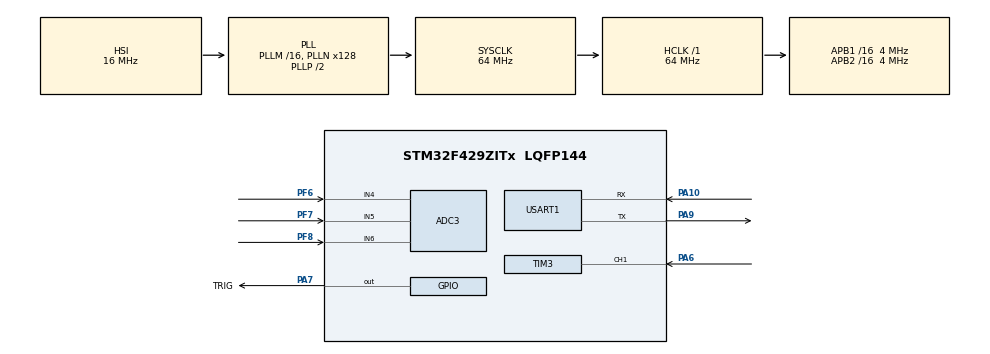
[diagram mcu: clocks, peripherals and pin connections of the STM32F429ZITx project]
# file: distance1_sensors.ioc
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ADC3.Channel-0\#ChannelRegularConversion=ADC_CHANNEL_4
ADC3.Channel-1\#ChannelRegularConversion=ADC_CHANNEL_5
ADC3.Channel-2\#ChannelRegularConversion=ADC_CHANNEL_6
ADC3.ContinuousConvMode=ENABLE
ADC3.NbrOfConversion=3
ADC3.NbrOfConversionFlag=1
ADC3.Rank-0\#ChannelRegularConversion=1
ADC3.Rank-1\#ChannelRegularConversion=2
ADC3.Rank-2\#ChannelRegularConversion=3
ADC3.SamplingTime-0\#ChannelRegularConversion=ADC_SAMPLETIME_3CYCLES
ADC3.SamplingTime-1\#ChannelRegularConversion=ADC_SAMPLETIME_3CYCLES
ADC3.SamplingTime-2\#ChannelRegularConversion=ADC_SAMPLETIME_3CYCLES
Mcu.Family=STM32F4
Mcu.Name=STM32F429ZITx
Mcu.Package=LQFP144
NVIC.PriorityGroup=NVIC_PRIORITYGROUP_4
NVIC.TIM3_IRQn=true\:0\:0\:false\:false\:true\:true\:true
PA10.Mode=Asynchronous
PA10.Signal=USART1_RX
PA6.Signal=S_TIM3_CH1
PA7.GPIO_Label=TRIG
PA7.Signal=GPIO_Output
PA9.Mode=Asynchronous
PA9.Signal=USART1_TX
PF6.Mode=IN4
PF6.Signal=ADC3_IN4
PF7.Mode=IN5
PF7.Signal=ADC3_IN5
PF8.Mode=IN6
PF8.Signal=ADC3_IN6
ProjectManager.HeapSize=0x200
ProjectManager.StackSize=0x400
ProjectManager.TargetToolchain=MDK-ARM V5
RCC.48MHZClocksFreq_Value=32000000
RCC.AHBFreq_Value=64000000
RCC.APB1CLKDivider=RCC_HCLK_DIV16
RCC.APB1Freq_Value=4000000
RCC.APB1TimFreq_Value=8000000
RCC.APB2CLKDivider=RCC_HCLK_DIV16
RCC.APB2Freq_Value=4000000
RCC.APB2TimFreq_Value=8000000
RCC.CortexFreq_Value=64000000
RCC.HCLKFreq_Value=64000000
RCC.HSE_VALUE=25000000
RCC.HSI_VALUE=16000000
RCC.LSE_VALUE=32768
RCC.PLLN=128
RCC.SYSCLKFreq_VALUE=64000000
RCC.SYSCLKSource=RCC_SYSCLKSOURCE_PLLCLK
RCC.VCOOutputFreq_Value=128000000
SH.S_TIM3_CH1.0=TIM3_CH1,Input_Capture1_from_TI1
TIM3.Channel-Input_Capture1_from_TI1=TIM_CHANNEL_1
TIM3.ICFilter_CH1=4
TIM3.ICPolarity_CH1=TIM_INPUTCHANNELPOLARITY_BOTHEDGE
TIM3.Period=65535
TIM3.Prescaler=7
TIM4.Prescaler=7
USART1.VirtualMode=VM_ASYNC
VP_TIM3_VS_ClockSourceINT.Mode=Internal
VP_TIM4_VS_ClockSourceINT.Mode=Internal
board=custom

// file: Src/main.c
/* USER CODE BEGIN Header */
/**
  ******************************************************************************
  * @file           : main.c
  * @brief          : Main program body
  ******************************************************************************
  * @attention
  *
  * <h2><center>&copy; Copyright (c) 2020 STMicroelectronics.
  * All rights reserved.</center></h2>
  *
  * This software component is licensed by ST under BSD 3-Clause license,
  * the "License"; You may not use this file except in compliance with the
  * License. You may obtain a copy of the License at:
  *                        opensource.org/licenses/BSD-3-Clause
  *
  ******************************************************************************
  */
/* USER CODE END Header */

#include "main.h"

/* USER CODE BEGIN Includes */
#include "stdio.h"
#include "stdlib.h"
#include "string.h"
/* USER CODE END Includes */

/* USER CODE BEGIN PTD */
#define usTIM TIM4
/* USER CODE END PTD */

ADC_HandleTypeDef hadc3;

TIM_HandleTypeDef htim3;
TIM_HandleTypeDef htim4;

UART_HandleTypeDef huart1;

void SystemClock_Config(void);
static void MX_GPIO_Init(void);
static void MX_ADC3_Init(void);
static void MX_TIM3_Init(void);
static void MX_TIM4_Init(void);
static void MX_USART1_UART_Init(void);
/* USER CODE BEGIN PFP */
void usDelay(uint32_t uSec);
/* USER CODE END PFP */

/* USER CODE BEGIN 0 */
uint8_t icFlag = 0;
uint8_t captureIdx = 0;
uint32_t edge1Time = 0, edge2Time = 0;
uint32_t adcvalue[3];
float voltage[3];
const float speedOfSound = 0.0343/2;
float distance[4];
char uartbuf[100];
/* USER CODE END 0 */

int main(void)
{

  /* MCU Configuration--------------------------------------------------------*/

  /* Reset of all peripherals, Initializes the Flash interface and the Systick. */
  HAL_Init();

  /* Configure the system clock */
  SystemClock_Config();

  /* Initialize all configured peripherals */
  MX_GPIO_Init();
  MX_ADC3_Init();
  MX_TIM3_Init();
  MX_TIM4_Init();
  MX_USART1_UART_Init();

  /* Infinite loop */
  while (1)
  {

    /* USER CODE BEGIN 3 */
		HAL_ADC_Start(&hadc3);
		HAL_ADC_PollForConversion(&hadc3, 1000);
		adcvalue[0] = HAL_ADC_GetValue(&hadc3);

		HAL_ADC_PollForConversion(&hadc3, 1000);
		adcvalue[1] = HAL_ADC_GetValue(&hadc3);

		HAL_ADC_PollForConversion(&hadc3, 1000);
		adcvalue[2] = HAL_ADC_GetValue(&hadc3);

		HAL_ADC_Stop(&hadc3);
for(int i=0;i<3;i++)
		{
     voltage[i]= 5.000*adcvalue[i] / 4096.0;

		 distance[i] = 2.2/(0.044*voltage[i]-0.0044);

		}
		sprintf(uartbuf, "Distance from IR1 sensor (cm)  = %.3f\r\n", distance[0]); 		//Print to UART terminal
		HAL_UART_Transmit(&huart1, (uint8_t *)uartbuf, strlen(uartbuf), 100);
		HAL_Delay(1000);
		sprintf(uartbuf, "Distance from IR2 sensor (cm)  = %.3f\r\n", distance[1]); 		//Print to UART terminal
		HAL_UART_Transmit(&huart1, (uint8_t *)uartbuf, strlen(uartbuf), 100);
		HAL_Delay(1000);
//	sprintf(uartbuf, "Distance from IR3 sensor (cm)  = %u\r\n", adcvalue[2]); 		  //Print to UART terminal
//	HAL_UART_Transmit(&huart1, (uint8_t *)uartbuf, strlen(uartbuf), 100);
//	HAL_Delay(1000);
		//-------------------------------------------------------------------------------------------------------

		HAL_GPIO_WritePin(TRIG_GPIO_Port, TRIG_Pin, GPIO_PIN_RESET);   		//Set TRIG to LOW
		usDelay(3);
		HAL_GPIO_WritePin(TRIG_GPIO_Port, TRIG_Pin, GPIO_PIN_SET);        //Send TRIG signal
		usDelay(10);
		HAL_GPIO_WritePin(TRIG_GPIO_Port, TRIG_Pin, GPIO_PIN_RESET);      //Send TRIG signal

		HAL_TIM_IC_Start_IT(&htim3, TIM_CHANNEL_1);      		//Start IC timer
		uint32_t startTick = HAL_GetTick();
		do
		{
			if(icFlag) break;
		}while((HAL_GetTick() - startTick) < 500);  //500ms
		icFlag = 0;
		HAL_TIM_IC_Stop_IT(&htim3, TIM_CHANNEL_1);

		if(edge2Time > edge1Time)     		//Calculate distance in cm
		{
			distance[3] = ((edge2Time - edge1Time) + 0.0f)*speedOfSound;
		}
		else
		{
			distance[3] = 0.0f;
		}

		sprintf(uartbuf, "Distance from US sensor (cm)  = %.3f\r\n", distance[3]); 		//Print to UART terminal
		HAL_UART_Transmit(&huart1, (uint8_t *)uartbuf, strlen(uartbuf), 100);
		HAL_Delay(1000);
  }
  /* USER CODE END 3 */
}

void SystemClock_Config(void)
{
  RCC_OscInitTypeDef RCC_OscInitStruct = {0};
  RCC_ClkInitTypeDef RCC_ClkInitStruct = {0};

  /** Configure the main internal regulator output voltage
  */
  __HAL_RCC_PWR_CLK_ENABLE();
  __HAL_PWR_VOLTAGESCALING_CONFIG(PWR_REGULATOR_VOLTAGE_SCALE3);
  /** Initializes the CPU, AHB and APB busses clocks
  */
  RCC_OscInitStruct.OscillatorType = RCC_OSCILLATORTYPE_HSI;
  RCC_OscInitStruct.HSIState = RCC_HSI_ON;
  RCC_OscInitStruct.HSICalibrationValue = RCC_HSICALIBRATION_DEFAULT;
  RCC_OscInitStruct.PLL.PLLState = RCC_PLL_ON;
  RCC_OscInitStruct.PLL.PLLSource = RCC_PLLSOURCE_HSI;
  RCC_OscInitStruct.PLL.PLLM = 16;
  RCC_OscInitStruct.PLL.PLLN = 128;
  RCC_OscInitStruct.PLL.PLLP = RCC_PLLP_DIV2;
  RCC_OscInitStruct.PLL.PLLQ = 4;
  if (HAL_RCC_OscConfig(&RCC_OscInitStruct) != HAL_OK)
  {
    Error_Handler();
  }
  /** Initializes the CPU, AHB and APB busses clocks
  */
  RCC_ClkInitStruct.ClockType = RCC_CLOCKTYPE_HCLK|RCC_CLOCKTYPE_SYSCLK
                              |RCC_CLOCKTYPE_PCLK1|RCC_CLOCKTYPE_PCLK2;
  RCC_ClkInitStruct.SYSCLKSource = RCC_SYSCLKSOURCE_PLLCLK;
  RCC_ClkInitStruct.AHBCLKDivider = RCC_SYSCLK_DIV1;
  RCC_ClkInitStruct.APB1CLKDivider = RCC_HCLK_DIV16;
  RCC_ClkInitStruct.APB2CLKDivider = RCC_HCLK_DIV16;

  if (HAL_RCC_ClockConfig(&RCC_ClkInitStruct, FLASH_LATENCY_2) != HAL_OK)
  {
    Error_Handler();
  }
}

static void MX_ADC3_Init(void)
{

  ADC_ChannelConfTypeDef sConfig = {0};

  /** Configure the global features of the ADC (Clock, Resolution, Data Alignment and number of conversion)
  */
  hadc3.Instance = ADC3;
  hadc3.Init.ClockPrescaler = ADC_CLOCK_SYNC_PCLK_DIV2;
  hadc3.Init.Resolution = ADC_RESOLUTION_12B;
  hadc3.Init.ScanConvMode = ENABLE;
  hadc3.Init.ContinuousConvMode = ENABLE;
  hadc3.Init.DiscontinuousConvMode = DISABLE;
  hadc3.Init.ExternalTrigConvEdge = ADC_EXTERNALTRIGCONVEDGE_NONE;
  hadc3.Init.ExternalTrigConv = ADC_SOFTWARE_START;
  hadc3.Init.DataAlign = ADC_DATAALIGN_RIGHT;
  hadc3.Init.NbrOfConversion = 3;
  hadc3.Init.DMAContinuousRequests = DISABLE;
  hadc3.Init.EOCSelection = ADC_EOC_SINGLE_CONV;
  if (HAL_ADC_Init(&hadc3) != HAL_OK)
  {
    Error_Handler();
  }
  /** Configure for the selected ADC regular channel its corresponding rank in the sequencer and its sample time.
  */
  sConfig.Channel = ADC_CHANNEL_4;
  sConfig.Rank = 1;
  sConfig.SamplingTime = ADC_SAMPLETIME_3CYCLES;
  if (HAL_ADC_ConfigChannel(&hadc3, &sConfig) != HAL_OK)
  {
    Error_Handler();
  }
  /** Configure for the selected ADC regular channel its corresponding rank in the sequencer and its sample time.
  */
  sConfig.Channel = ADC_CHANNEL_5;
  sConfig.Rank = 2;
  if (HAL_ADC_ConfigChannel(&hadc3, &sConfig) != HAL_OK)
  {
    Error_Handler();
  }
  /** Configure for the selected ADC regular channel its corresponding rank in the sequencer and its sample time.
  */
  sConfig.Channel = ADC_CHANNEL_6;
  sConfig.Rank = 3;
  if (HAL_ADC_ConfigChannel(&hadc3, &sConfig) != HAL_OK)
  {
    Error_Handler();
  }

}

static void MX_TIM3_Init(void)
{

  TIM_ClockConfigTypeDef sClockSourceConfig = {0};
  TIM_MasterConfigTypeDef sMasterConfig = {0};
  TIM_IC_InitTypeDef sConfigIC = {0};

  htim3.Instance = TIM3;
  htim3.Init.Prescaler = 7;
  htim3.Init.CounterMode = TIM_COUNTERMODE_UP;
  htim3.Init.Period = 65535;
  htim3.Init.ClockDivision = TIM_CLOCKDIVISION_DIV1;
  htim3.Init.AutoReloadPreload = TIM_AUTORELOAD_PRELOAD_DISABLE;
  if (HAL_TIM_Base_Init(&htim3) != HAL_OK)
  {
    Error_Handler();
  }
  sClockSourceConfig.ClockSource = TIM_CLOCKSOURCE_INTERNAL;
  if (HAL_TIM_ConfigClockSource(&htim3, &sClockSourceConfig) != HAL_OK)
  {
    Error_Handler();
  }
  if (HAL_TIM_IC_Init(&htim3) != HAL_OK)
  {
    Error_Handler();
  }
  sMasterConfig.MasterOutputTrigger = TIM_TRGO_RESET;
  sMasterConfig.MasterSlaveMode = TIM_MASTERSLAVEMODE_DISABLE;
  if (HAL_TIMEx_MasterConfigSynchronization(&htim3, &sMasterConfig) != HAL_OK)
  {
    Error_Handler();
  }
  sConfigIC.ICPolarity = TIM_INPUTCHANNELPOLARITY_BOTHEDGE;
  sConfigIC.ICSelection = TIM_ICSELECTION_DIRECTTI;
  sConfigIC.ICPrescaler = TIM_ICPSC_DIV1;
  sConfigIC.ICFilter = 4;
  if (HAL_TIM_IC_ConfigChannel(&htim3, &sConfigIC, TIM_CHANNEL_1) != HAL_OK)
  {
    Error_Handler();
  }

}

static void MX_TIM4_Init(void)
{

  TIM_ClockConfigTypeDef sClockSourceConfig = {0};
  TIM_MasterConfigTypeDef sMasterConfig = {0};

  htim4.Instance = TIM4;
  htim4.Init.Prescaler = 7;
  htim4.Init.CounterMode = TIM_COUNTERMODE_UP;
  htim4.Init.Period = 0;
  htim4.Init.ClockDivision = TIM_CLOCKDIVISION_DIV1;
  htim4.Init.AutoReloadPreload = TIM_AUTORELOAD_PRELOAD_DISABLE;
  if (HAL_TIM_Base_Init(&htim4) != HAL_OK)
  {
    Error_Handler();
  }
  sClockSourceConfig.ClockSource = TIM_CLOCKSOURCE_INTERNAL;
  if (HAL_TIM_ConfigClockSource(&htim4, &sClockSourceConfig) != HAL_OK)
  {
    Error_Handler();
  }
  sMasterConfig.MasterOutputTrigger = TIM_TRGO_RESET;
  sMasterConfig.MasterSlaveMode = TIM_MASTERSLAVEMODE_DISABLE;
  if (HAL_TIMEx_MasterConfigSynchronization(&htim4, &sMasterConfig) != HAL_OK)
  {
    Error_Handler();
  }

}

static void MX_USART1_UART_Init(void)
{

  huart1.Instance = USART1;
  huart1.Init.BaudRate = 115200;
  huart1.Init.WordLength = UART_WORDLENGTH_8B;
  huart1.Init.StopBits = UART_STOPBITS_1;
  huart1.Init.Parity = UART_PARITY_NONE;
  huart1.Init.Mode = UART_MODE_TX_RX;
  huart1.Init.HwFlowCtl = UART_HWCONTROL_NONE;
  huart1.Init.OverSampling = UART_OVERSAMPLING_16;
  if (HAL_UART_Init(&huart1) != HAL_OK)
  {
    Error_Handler();
  }

}

static void MX_GPIO_Init(void)
{
  GPIO_InitTypeDef GPIO_InitStruct = {0};

  /* GPIO Ports Clock Enable */
  __HAL_RCC_GPIOF_CLK_ENABLE();
  __HAL_RCC_GPIOA_CLK_ENABLE();

  /*Configure GPIO pin Output Level */
  HAL_GPIO_WritePin(TRIG_GPIO_Port, TRIG_Pin, GPIO_PIN_RESET);

  /*Configure GPIO pin : TRIG_Pin */
  GPIO_InitStruct.Pin = TRIG_Pin;
  GPIO_InitStruct.Mode = GPIO_MODE_OUTPUT_PP;
  GPIO_InitStruct.Pull = GPIO_NOPULL;
  GPIO_InitStruct.Speed = GPIO_SPEED_FREQ_LOW;
  HAL_GPIO_Init(TRIG_GPIO_Port, &GPIO_InitStruct);

}

/* USER CODE BEGIN 4 */
void usDelay(uint32_t uSec)
{
	if(uSec < 2) uSec = 2;
	usTIM->ARR = uSec - 1; 	/*sets the value in the auto-reload register*/
	usTIM->EGR = 1; 			/*Re-initialises the timer*/
	usTIM->SR &= ~1; 		//Resets the flag
	usTIM->CR1 |= 1; 		//Enables the counter
	while((usTIM->SR&0x0001) != 1);
	usTIM->SR &= ~(0x0001);
}

void HAL_TIM_IC_CaptureCallback(TIM_HandleTypeDef *htim)
{

		if(captureIdx == 0) //Fisrt edge
		{
			edge1Time = HAL_TIM_ReadCapturedValue(htim, TIM_CHANNEL_1);

			captureIdx = 1;
		}
		else if(captureIdx == 1) //Second edge
		{
			edge2Time = HAL_TIM_ReadCapturedValue(htim, TIM_CHANNEL_1);
			captureIdx = 0;
			icFlag = 1;
		}
}

/* USER CODE END 4 */

void Error_Handler(void)
{
}

/************************ (C) COPYRIGHT STMicroelectronics *****END OF FILE****/
